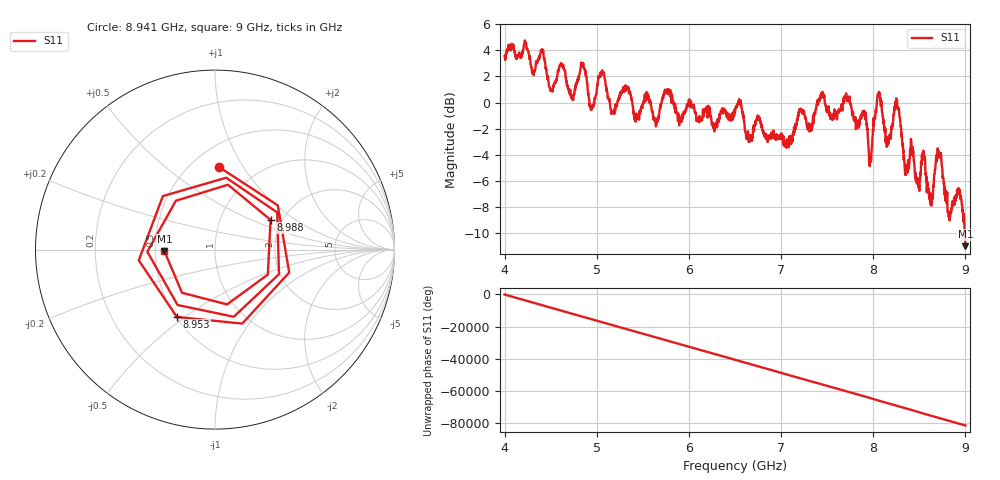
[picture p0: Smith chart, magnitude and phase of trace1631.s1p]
! Created with skrf 1.8.0 (http://scikit-rf.org).
# Hz S RI R 50.0
!freq ReS11 ImS11
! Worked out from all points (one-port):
!   1601 points, 4 GHz to 9 GHz, reference 50 ohm
!   lowest |S11| = -11.0 dB at 9 GHz (marker M1), VSWR 1.79, Z = 28 - j0.473 ohm
!   |S11| at or under -10 dB: 8.993171 GHz to end of sweep
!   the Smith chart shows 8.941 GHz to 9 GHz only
!   S11 on the Smith chart (normalised r, x): 8.941 GHz: 0.68, +0.79; 8.953 GHz: 0.51, -0.47; 8.988 GHz: 1.74, +0.66; 9 GHz: 0.56, -0.01
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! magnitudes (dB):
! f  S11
! 4 GHz  3.6
! 4.406 GHz  4.1
! 4.506 GHz  0.9
! 4.625 GHz  2.8
! 4.731 GHz  0.5
! 4.853 GHz  3.0
! 4.947 GHz  -0.4
! 5.053 GHz  2.2
! 5.169 GHz  -0.7
! 5.25 GHz  0.4
! 5.875 GHz  -0.8
! 6.5 GHz  -0.8
! 7.125 GHz  -2.7
! 7.434 GHz  0.7
! 7.75 GHz  -0.1
! 7.966 GHz  -4.0
! 8.053 GHz  0.6
! 8.159 GHz  -3.2
! 8.256 GHz  0.2
! 8.375 GHz  -5.3
! 8.544 GHz  -3.7
! 8.622 GHz  -7.0
! 8.716 GHz  -3.9
! 8.831 GHz  -8.9
! 8.941 GHz  -6.7
! 8.953 GHz  -7.3
! 8.988 GHz  -9.1
! 9 GHz  -11.0
